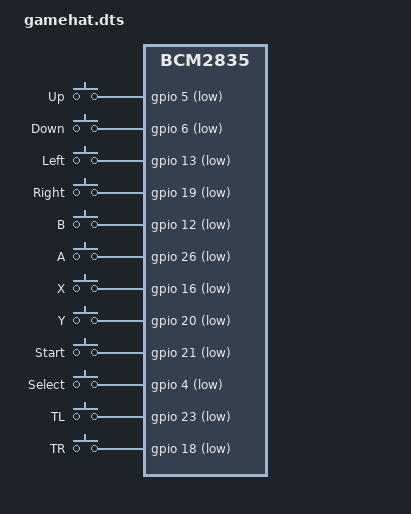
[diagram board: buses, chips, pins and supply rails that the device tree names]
/dts-v1/;
/plugin/;

/ {
    compatible = "brcm,bcm2835";

    fragment@0 {
        target = <&gpio>;
        __overlay__ {
            gamehat_pins: gamehat_pins {
                brcm,pins = <4 5 6 12 13 16 18 19 20 21 23 26>;
                brcm,function = <0 0 0 0 0 0 0 0 0 0 0 0>;
                brcm,pull = <2 2 2 2 2 2 2 2 2 2 2 2>;
            };
        };
    };

    fragment@1 {
        target-path = "/";
        __overlay__ {
            gamehat_keys: gamehat-keys {
                compatible = "gpio-keys";
                pinctrl-names = "default";
                pinctrl-0 = <&gamehat_pins>;
                status = "okay";

            up     { gpios = <&gpio 5  1>; linux,code = <544>; label = "Up";     };
            down   { gpios = <&gpio 6  1>; linux,code = <545>; label = "Down";   };
            left   { gpios = <&gpio 13 1>; linux,code = <546>; label = "Left";   };
            right  { gpios = <&gpio 19 1>; linux,code = <547>; label = "Right";  };
            b      { gpios = <&gpio 12 1>; linux,code = <304>; label = "B";  };
            a      { gpios = <&gpio 26 1>; linux,code = <305>; label = "A";  };
            x      { gpios = <&gpio 16 1>; linux,code = <307>; label = "X";  };
            y      { gpios = <&gpio 20 1>; linux,code = <308>; label = "Y";  };
            start  { gpios = <&gpio 21 1>; linux,code = <315>; label = "Start";  };
            select { gpios = <&gpio 4  1>; linux,code = <314>; label = "Select"; };
            tl     { gpios = <&gpio 23 1>; linux,code = <310>; label = "TL";     };
            tr     { gpios = <&gpio 18 1>; linux,code = <311>; label = "TR";     };
            };
        };
    };
};
